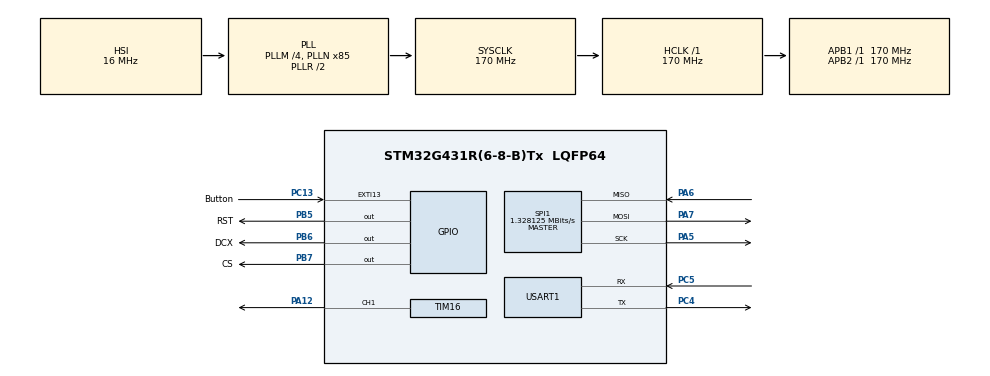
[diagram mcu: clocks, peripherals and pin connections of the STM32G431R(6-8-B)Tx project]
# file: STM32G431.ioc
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Mcu.Family=STM32G4
Mcu.Name=STM32G431R(6-8-B)Tx
Mcu.Package=LQFP64
NVIC.EXTI15_10_IRQn=true\:0\:0\:false\:false\:true\:true\:true
NVIC.PriorityGroup=NVIC_PRIORITYGROUP_4
NVIC.TIM7_IRQn=true\:0\:0\:false\:false\:true\:false\:true
NVIC.TimeBase=TIM7_IRQn
NVIC.TimeBaseIP=TIM7
NVIC.USART1_IRQn=true\:0\:0\:false\:false\:true\:true\:true
PA12.Signal=S_TIM16_CH1
PA13.Mode=Serial_Wire
PA13.Signal=SYS_JTMS-SWDIO
PA14.Mode=Serial_Wire
PA14.Signal=SYS_JTCK-SWCLK
PA5.Mode=Full_Duplex_Master
PA5.Signal=SPI1_SCK
PA6.Mode=Full_Duplex_Master
PA6.Signal=SPI1_MISO
PA7.Mode=Full_Duplex_Master
PA7.Signal=SPI1_MOSI
PB5.GPIO_Label=RST
PB5.GPIO_Speed=GPIO_SPEED_FREQ_VERY_HIGH
PB5.PinState=GPIO_PIN_RESET
PB5.Signal=GPIO_Output
PB6.GPIO_Label=DCX
PB6.GPIO_Speed=GPIO_SPEED_FREQ_VERY_HIGH
PB6.PinState=GPIO_PIN_SET
PB6.Signal=GPIO_Output
PB7.GPIO_Label=CS
PB7.GPIO_Speed=GPIO_SPEED_FREQ_VERY_HIGH
PB7.PinState=GPIO_PIN_SET
PB7.Signal=GPIO_Output
PC13.GPIO_Label=Button
PC13.Signal=GPXTI13
PC4.Mode=Asynchronous
PC4.Signal=USART1_TX
PC5.Mode=Asynchronous
PC5.Signal=USART1_RX
PF0-OSC_IN.Mode=HSE-External-Oscillator
PF0-OSC_IN.Signal=RCC_OSC_IN
PF1-OSC_OUT.Mode=HSE-External-Oscillator
PF1-OSC_OUT.Signal=RCC_OSC_OUT
ProjectManager.HeapSize=0x200
ProjectManager.StackSize=0x400
ProjectManager.TargetToolchain=STM32CubeIDE
RCC.ADC12Freq_Value=170000000
RCC.AHBFreq_Value=170000000
RCC.APB1Freq_Value=170000000
RCC.APB1TimFreq_Value=170000000
RCC.APB2Freq_Value=170000000
RCC.APB2TimFreq_Value=170000000
RCC.CortexFreq_Value=170000000
RCC.EXTERNAL_CLOCK_VALUE=12288000
RCC.HCLKFreq_Value=170000000
RCC.HSE_VALUE=24000000
RCC.HSI48_VALUE=48000000
RCC.HSI_VALUE=16000000
RCC.LSE_VALUE=32768
RCC.PLLM=RCC_PLLM_DIV4
RCC.PLLN=85
RCC.SYSCLKFreq_VALUE=170000000
RCC.SYSCLKSource=RCC_SYSCLKSOURCE_PLLCLK
RCC.USBFreq_Value=170000000
RCC.VCOOutputFreq_Value=340000000
SH.S_TIM16_CH1.0=TIM16_CH1,PWM Generation1 CH1
SPI1.BaudRatePrescaler=SPI_BAUDRATEPRESCALER_128
SPI1.CalculateBaudRate=1.328125 MBits/s
SPI1.DataSize=SPI_DATASIZE_8BIT
SPI1.Direction=SPI_DIRECTION_2LINES
SPI1.Mode=SPI_MODE_MASTER
SPI1.VirtualType=VM_MASTER
TIM16.AutoReloadPreload=TIM_AUTORELOAD_PRELOAD_ENABLE
TIM16.Channel=TIM_CHANNEL_1
TIM16.PeriodNoDither=999
TIM16.Prescaler=68-1
TIM16.PulseNoDither_1=500
USART1.VirtualMode-Asynchronous=VM_ASYNC
VP_SYS_VS_DBSignals.Mode=DisableDeadBatterySignals
VP_SYS_VS_tim7.Mode=TIM7
VP_TIM16_VS_ClockSourceINT.Mode=Enable_Timer
board=custom

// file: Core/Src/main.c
/* USER CODE BEGIN Header */
/**
  ******************************************************************************
  * @file           : main.c
  * @brief          : Main program body
  ******************************************************************************
  * @attention
  *
  * <h2><center>&copy; Copyright (c) 2023 STMicroelectronics.
  * All rights reserved.</center></h2>
  *
  * This software component is licensed by ST under BSD 3-Clause license,
  * the "License"; You may not use this file except in compliance with the
  * License. You may obtain a copy of the License at:
  *                        opensource.org/licenses/BSD-3-Clause
  *
  ******************************************************************************
  */
/* USER CODE END Header */
#include "main.h"

/* USER CODE BEGIN Includes */
//#include "SSD1309.h"
#include <../Drivers/Panel/SSD1306/ssd1306.h>
#include <../Drivers/Panel/SSD1306/ssd1306_tests.h>
#include <../Drivers/Panel/SSD1306/ssd1306_fonts.h>
#include <string.h>
/* USER CODE END Includes */

/* USER CODE BEGIN PTD */
extern uint8_t pucByte;
extern uint16_t BLE_index;
extern int ReceiveCompleteFlag;
/* USER CODE END PTD */

/* USER CODE BEGIN PM */
//char data[2]  = {0};
//uint8_t pucByte;
/* USER CODE END PM */

SPI_HandleTypeDef hspi1;

TIM_HandleTypeDef htim16;

UART_HandleTypeDef huart1;

void SystemClock_Config(void);
static void MX_GPIO_Init(void);
static void MX_SPI1_Init(void);
static void MX_USART1_UART_Init(void);
static void MX_TIM16_Init(void);
/* USER CODE BEGIN PFP */
//void user_pwm_setvalue(uint8_t value);
/* USER CODE END PFP */

int main(void)
{

  /* MCU Configuration--------------------------------------------------------*/

  /* Reset of all peripherals, Initializes the Flash interface and the Systick. */
  HAL_Init();

  /* Configure the system clock */
  SystemClock_Config();

  /* Initialize all configured peripherals */
  MX_GPIO_Init();
  MX_SPI1_Init();
  MX_USART1_UART_Init();
  MX_TIM16_Init();
  /* USER CODE BEGIN 2 */

  HAL_TIM_PWM_Start( &htim16, TIM_CHANNEL_1 );

  HAL_UART_Receive_IT(&huart1, &pucByte, 1);

  ssd1306_Init();

  HAL_Delay(1000);
//
  ssd1306_TestFonts1();
//
  ssd1306_TestDrawBitmap();
  /* USER CODE END 2 */

  /* Infinite loop */
  while (1)
  {

    /* USER CODE BEGIN 3 */
	  if(ReceiveCompleteFlag == 1)
	  {
		  ssd1306_TestFonts(&data[0]);
		  ReceiveCompleteFlag = 0;
		  memset(data, 0, 256);
		  BLE_index = 0;
	  }

  }
  /* USER CODE END 3 */
}

void SystemClock_Config(void)
{
  RCC_OscInitTypeDef RCC_OscInitStruct = {0};
  RCC_ClkInitTypeDef RCC_ClkInitStruct = {0};
  RCC_PeriphCLKInitTypeDef PeriphClkInit = {0};

  /** Configure the main internal regulator output voltage
  */
  HAL_PWREx_ControlVoltageScaling(PWR_REGULATOR_VOLTAGE_SCALE1_BOOST);
  /** Initializes the RCC Oscillators according to the specified parameters
  * in the RCC_OscInitTypeDef structure.
  */
  RCC_OscInitStruct.OscillatorType = RCC_OSCILLATORTYPE_HSI;
  RCC_OscInitStruct.HSIState = RCC_HSI_ON;
  RCC_OscInitStruct.HSICalibrationValue = RCC_HSICALIBRATION_DEFAULT;
  RCC_OscInitStruct.PLL.PLLState = RCC_PLL_ON;
  RCC_OscInitStruct.PLL.PLLSource = RCC_PLLSOURCE_HSI;
  RCC_OscInitStruct.PLL.PLLM = RCC_PLLM_DIV4;
  RCC_OscInitStruct.PLL.PLLN = 85;
  RCC_OscInitStruct.PLL.PLLP = RCC_PLLP_DIV2;
  RCC_OscInitStruct.PLL.PLLQ = RCC_PLLQ_DIV2;
  RCC_OscInitStruct.PLL.PLLR = RCC_PLLR_DIV2;
  if (HAL_RCC_OscConfig(&RCC_OscInitStruct) != HAL_OK)
  {
    Error_Handler();
  }
  /** Initializes the CPU, AHB and APB buses clocks
  */
  RCC_ClkInitStruct.ClockType = RCC_CLOCKTYPE_HCLK|RCC_CLOCKTYPE_SYSCLK
                              |RCC_CLOCKTYPE_PCLK1|RCC_CLOCKTYPE_PCLK2;
  RCC_ClkInitStruct.SYSCLKSource = RCC_SYSCLKSOURCE_PLLCLK;
  RCC_ClkInitStruct.AHBCLKDivider = RCC_SYSCLK_DIV1;
  RCC_ClkInitStruct.APB1CLKDivider = RCC_HCLK_DIV1;
  RCC_ClkInitStruct.APB2CLKDivider = RCC_HCLK_DIV1;

  if (HAL_RCC_ClockConfig(&RCC_ClkInitStruct, FLASH_LATENCY_4) != HAL_OK)
  {
    Error_Handler();
  }
  /** Initializes the peripherals clocks
  */
  PeriphClkInit.PeriphClockSelection = RCC_PERIPHCLK_USART1;
  PeriphClkInit.Usart1ClockSelection = RCC_USART1CLKSOURCE_PCLK2;
  if (HAL_RCCEx_PeriphCLKConfig(&PeriphClkInit) != HAL_OK)
  {
    Error_Handler();
  }
}

static void MX_SPI1_Init(void)
{

  /* SPI1 parameter configuration*/
  hspi1.Instance = SPI1;
  hspi1.Init.Mode = SPI_MODE_MASTER;
  hspi1.Init.Direction = SPI_DIRECTION_2LINES;
  hspi1.Init.DataSize = SPI_DATASIZE_8BIT;
  hspi1.Init.CLKPolarity = SPI_POLARITY_LOW;
  hspi1.Init.CLKPhase = SPI_PHASE_1EDGE;
  hspi1.Init.NSS = SPI_NSS_SOFT;
  hspi1.Init.BaudRatePrescaler = SPI_BAUDRATEPRESCALER_128;
  hspi1.Init.FirstBit = SPI_FIRSTBIT_MSB;
  hspi1.Init.TIMode = SPI_TIMODE_DISABLE;
  hspi1.Init.CRCCalculation = SPI_CRCCALCULATION_DISABLE;
  hspi1.Init.CRCPolynomial = 7;
  hspi1.Init.CRCLength = SPI_CRC_LENGTH_DATASIZE;
  hspi1.Init.NSSPMode = SPI_NSS_PULSE_ENABLE;
  if (HAL_SPI_Init(&hspi1) != HAL_OK)
  {
    Error_Handler();
  }

}

static void MX_TIM16_Init(void)
{

  TIM_OC_InitTypeDef sConfigOC = {0};
  TIM_BreakDeadTimeConfigTypeDef sBreakDeadTimeConfig = {0};

  htim16.Instance = TIM16;
  htim16.Init.Prescaler = 68-1;
  htim16.Init.CounterMode = TIM_COUNTERMODE_UP;
  htim16.Init.Period = 999;
  htim16.Init.ClockDivision = TIM_CLOCKDIVISION_DIV1;
  htim16.Init.RepetitionCounter = 0;
  htim16.Init.AutoReloadPreload = TIM_AUTORELOAD_PRELOAD_ENABLE;
  if (HAL_TIM_Base_Init(&htim16) != HAL_OK)
  {
    Error_Handler();
  }
  if (HAL_TIM_PWM_Init(&htim16) != HAL_OK)
  {
    Error_Handler();
  }
  sConfigOC.OCMode = TIM_OCMODE_PWM1;
  sConfigOC.Pulse = 500;
  sConfigOC.OCPolarity = TIM_OCPOLARITY_HIGH;
  sConfigOC.OCNPolarity = TIM_OCNPOLARITY_HIGH;
  sConfigOC.OCFastMode = TIM_OCFAST_DISABLE;
  sConfigOC.OCIdleState = TIM_OCIDLESTATE_RESET;
  sConfigOC.OCNIdleState = TIM_OCNIDLESTATE_RESET;
  if (HAL_TIM_PWM_ConfigChannel(&htim16, &sConfigOC, TIM_CHANNEL_1) != HAL_OK)
  {
    Error_Handler();
  }
  sBreakDeadTimeConfig.OffStateRunMode = TIM_OSSR_DISABLE;
  sBreakDeadTimeConfig.OffStateIDLEMode = TIM_OSSI_DISABLE;
  sBreakDeadTimeConfig.LockLevel = TIM_LOCKLEVEL_OFF;
  sBreakDeadTimeConfig.DeadTime = 0;
  sBreakDeadTimeConfig.BreakState = TIM_BREAK_DISABLE;
  sBreakDeadTimeConfig.BreakPolarity = TIM_BREAKPOLARITY_HIGH;
  sBreakDeadTimeConfig.BreakFilter = 0;
  sBreakDeadTimeConfig.AutomaticOutput = TIM_AUTOMATICOUTPUT_DISABLE;
  if (HAL_TIMEx_ConfigBreakDeadTime(&htim16, &sBreakDeadTimeConfig) != HAL_OK)
  {
    Error_Handler();
  }
  HAL_TIM_MspPostInit(&htim16);

}

static void MX_USART1_UART_Init(void)
{

  huart1.Instance = USART1;
  huart1.Init.BaudRate = 115200;
  huart1.Init.WordLength = UART_WORDLENGTH_8B;
  huart1.Init.StopBits = UART_STOPBITS_1;
  huart1.Init.Parity = UART_PARITY_NONE;
  huart1.Init.Mode = UART_MODE_TX_RX;
  huart1.Init.HwFlowCtl = UART_HWCONTROL_NONE;
  huart1.Init.OverSampling = UART_OVERSAMPLING_16;
  huart1.Init.OneBitSampling = UART_ONE_BIT_SAMPLE_DISABLE;
  huart1.Init.ClockPrescaler = UART_PRESCALER_DIV1;
  huart1.AdvancedInit.AdvFeatureInit = UART_ADVFEATURE_NO_INIT;
  if (HAL_UART_Init(&huart1) != HAL_OK)
  {
    Error_Handler();
  }
  if (HAL_UARTEx_SetTxFifoThreshold(&huart1, UART_TXFIFO_THRESHOLD_1_8) != HAL_OK)
  {
    Error_Handler();
  }
  if (HAL_UARTEx_SetRxFifoThreshold(&huart1, UART_RXFIFO_THRESHOLD_1_8) != HAL_OK)
  {
    Error_Handler();
  }
  if (HAL_UARTEx_DisableFifoMode(&huart1) != HAL_OK)
  {
    Error_Handler();
  }
  /* USER CODE BEGIN USART1_Init 2 */
  __HAL_UART_FLUSH_DRREGISTER(&huart1);
//  __HAL_UART_ENABLE_IT( &huart1, UART_IT_IDLE );
  /* USER CODE END USART1_Init 2 */

}

static void MX_GPIO_Init(void)
{
  GPIO_InitTypeDef GPIO_InitStruct = {0};

  /* GPIO Ports Clock Enable */
  __HAL_RCC_GPIOC_CLK_ENABLE();
  __HAL_RCC_GPIOF_CLK_ENABLE();
  __HAL_RCC_GPIOA_CLK_ENABLE();
  __HAL_RCC_GPIOB_CLK_ENABLE();

  /*Configure GPIO pin Output Level */
  HAL_GPIO_WritePin(RST_GPIO_Port, RST_Pin, GPIO_PIN_RESET);

  /*Configure GPIO pin Output Level */
  HAL_GPIO_WritePin(GPIOB, DCX_Pin|CS_Pin, GPIO_PIN_SET);

  /*Configure GPIO pin : Button_Pin */
  GPIO_InitStruct.Pin = Button_Pin;
  GPIO_InitStruct.Mode = GPIO_MODE_IT_RISING;
  GPIO_InitStruct.Pull = GPIO_NOPULL;
  HAL_GPIO_Init(Button_GPIO_Port, &GPIO_InitStruct);

  /*Configure GPIO pins : RST_Pin DCX_Pin CS_Pin */
  GPIO_InitStruct.Pin = RST_Pin|DCX_Pin|CS_Pin;
  GPIO_InitStruct.Mode = GPIO_MODE_OUTPUT_PP;
  GPIO_InitStruct.Pull = GPIO_NOPULL;
  GPIO_InitStruct.Speed = GPIO_SPEED_FREQ_VERY_HIGH;
  HAL_GPIO_Init(GPIOB, &GPIO_InitStruct);

  /* EXTI interrupt init*/
  HAL_NVIC_SetPriority(EXTI15_10_IRQn, 0, 0);
  HAL_NVIC_EnableIRQ(EXTI15_10_IRQn);

}

/* USER CODE BEGIN 4 */
void HAL_GPIO_EXTI_Callback(uint16_t GPIO_Pin)
{
	data[0] = 'I';
	data[1] = 'N';
	data[2] = 'T';
	HAL_UART_Transmit(&huart1, (uint8_t *)&data[0], 3, 100);
	HAL_UART_Receive_IT(&huart1, &pucByte, 1);
}
/* USER CODE END 4 */

 /**
  * @brief  Period elapsed callback in non blocking mode
  * @note   This function is called  when TIM7 interrupt took place, inside
  * HAL_TIM_IRQHandler(). It makes a direct call to HAL_IncTick() to increment
  * a global variable "uwTick" used as application time base.
  * @param  htim : TIM handle
  * @retval None
  */
void HAL_TIM_PeriodElapsedCallback(TIM_HandleTypeDef *htim)
{
  if (htim->Instance == TIM7) {
    HAL_IncTick();
  }
}

void Error_Handler(void)
{
  __disable_irq();
  while (1)
  {
  }
}

/************************ (C) COPYRIGHT STMicroelectronics *****END OF FILE****/
